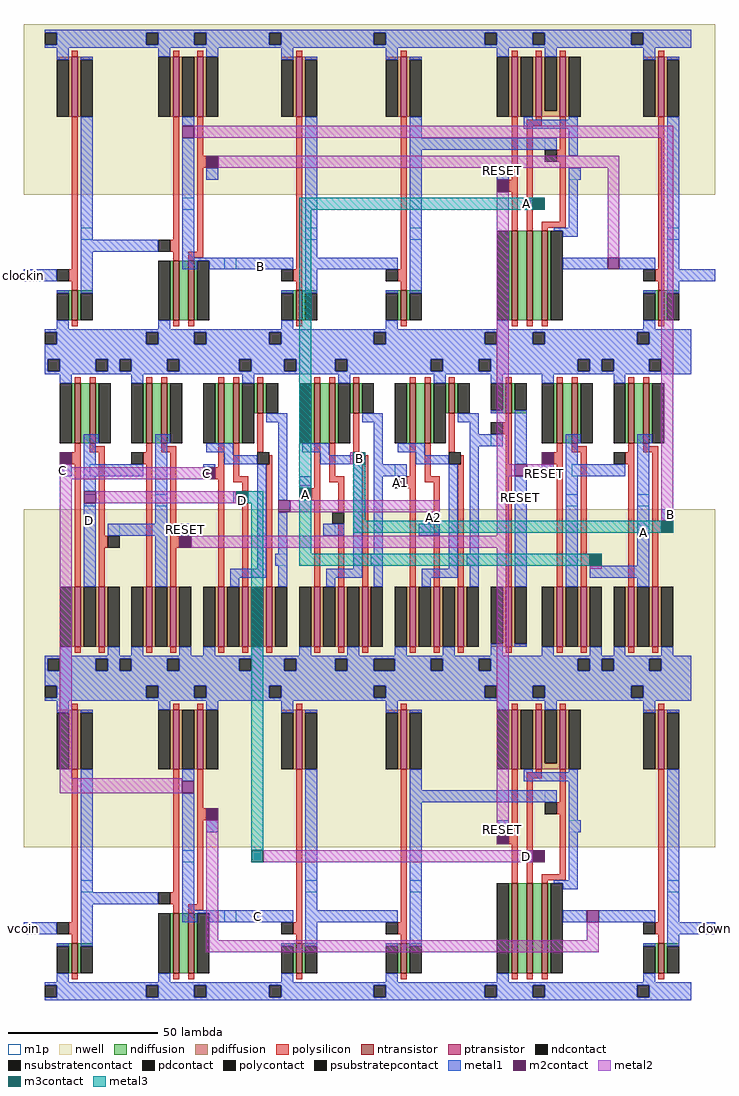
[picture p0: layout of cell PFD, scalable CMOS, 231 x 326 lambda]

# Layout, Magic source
magic
tech scmos
<< nwell >>
rect 0 51 231 108
rect 0 -167 231 -54
<< ntransistor >>
rect 16 9 18 19
rect 50 9 52 29
rect 55 9 57 29
rect 91 9 93 19
rect 126 9 128 19
rect 163 9 165 39
rect 168 9 170 39
rect 173 9 175 39
rect 212 9 214 19
rect 17 -32 19 -12
rect 22 -32 24 -12
rect 41 -32 43 -12
rect 46 -32 48 -12
rect 65 -32 67 -12
rect 70 -32 72 -12
rect 78 -22 80 -12
rect 97 -32 99 -12
rect 102 -32 104 -12
rect 110 -22 112 -12
rect 129 -32 131 -12
rect 134 -32 136 -12
rect 142 -22 144 -12
rect 161 -22 163 -12
rect 178 -32 180 -12
rect 183 -32 185 -12
rect 202 -32 204 -12
rect 207 -32 209 -12
rect 16 -209 18 -199
rect 50 -209 52 -189
rect 55 -209 57 -189
rect 91 -209 93 -199
rect 126 -209 128 -199
rect 163 -209 165 -179
rect 168 -209 170 -179
rect 173 -209 175 -179
rect 212 -209 214 -199
<< ptransistor >>
rect 16 77 18 97
rect 50 77 52 97
rect 58 77 60 97
rect 91 77 93 97
rect 126 77 128 97
rect 163 77 165 97
rect 171 77 173 97
rect 179 77 181 97
rect 212 77 214 97
rect 17 -100 19 -80
rect 25 -100 27 -80
rect 41 -100 43 -80
rect 49 -100 51 -80
rect 65 -100 67 -80
rect 73 -100 75 -80
rect 81 -100 83 -80
rect 97 -100 99 -80
rect 105 -100 107 -80
rect 113 -100 115 -80
rect 129 -100 131 -80
rect 137 -100 139 -80
rect 145 -100 147 -80
rect 161 -100 163 -80
rect 178 -100 180 -80
rect 186 -100 188 -80
rect 202 -100 204 -80
rect 210 -100 212 -80
rect 16 -141 18 -121
rect 50 -141 52 -121
rect 58 -141 60 -121
rect 91 -141 93 -121
rect 126 -141 128 -121
rect 163 -141 165 -121
rect 171 -141 173 -121
rect 179 -141 181 -121
rect 212 -141 214 -121
<< ndiffusion >>
rect 11 18 16 19
rect 15 9 16 18
rect 18 18 23 19
rect 18 9 19 18
rect 49 9 50 29
rect 52 9 55 29
rect 57 9 58 29
rect 86 18 91 19
rect 90 9 91 18
rect 93 18 98 19
rect 93 9 94 18
rect 121 18 126 19
rect 125 9 126 18
rect 128 18 133 19
rect 128 9 129 18
rect 162 9 163 39
rect 165 9 168 39
rect 170 9 173 39
rect 175 9 176 39
rect 207 18 212 19
rect 211 9 212 18
rect 214 18 219 19
rect 214 9 215 18
rect 16 -32 17 -12
rect 19 -32 22 -12
rect 24 -32 25 -12
rect 40 -32 41 -12
rect 43 -32 46 -12
rect 48 -32 49 -12
rect 64 -32 65 -12
rect 67 -32 70 -12
rect 72 -32 73 -12
rect 77 -22 78 -12
rect 80 -22 81 -12
rect 96 -32 97 -12
rect 99 -32 102 -12
rect 104 -32 105 -12
rect 109 -22 110 -12
rect 112 -22 113 -12
rect 128 -32 129 -12
rect 131 -32 134 -12
rect 136 -32 137 -12
rect 141 -22 142 -12
rect 144 -22 145 -12
rect 160 -21 161 -12
rect 156 -22 161 -21
rect 163 -21 164 -12
rect 163 -22 168 -21
rect 177 -32 178 -12
rect 180 -32 183 -12
rect 185 -32 186 -12
rect 201 -32 202 -12
rect 204 -32 207 -12
rect 209 -32 210 -12
rect 11 -200 16 -199
rect 15 -209 16 -200
rect 18 -200 23 -199
rect 18 -209 19 -200
rect 49 -209 50 -189
rect 52 -209 55 -189
rect 57 -209 58 -189
rect 86 -200 91 -199
rect 90 -209 91 -200
rect 93 -200 98 -199
rect 93 -209 94 -200
rect 121 -200 126 -199
rect 125 -209 126 -200
rect 128 -200 133 -199
rect 128 -209 129 -200
rect 162 -209 163 -179
rect 165 -209 168 -179
rect 170 -209 173 -179
rect 175 -209 176 -179
rect 207 -200 212 -199
rect 211 -209 212 -200
rect 214 -200 219 -199
rect 214 -209 215 -200
<< pdiffusion >>
rect 11 96 16 97
rect 15 77 16 96
rect 18 96 23 97
rect 18 77 19 96
rect 49 77 50 97
rect 52 77 53 97
rect 57 77 58 97
rect 60 77 61 97
rect 86 96 91 97
rect 90 77 91 96
rect 93 96 98 97
rect 93 77 94 96
rect 121 96 126 97
rect 125 77 126 96
rect 128 96 133 97
rect 128 77 129 96
rect 162 77 163 97
rect 165 77 166 97
rect 170 77 171 97
rect 173 79 174 97
rect 178 79 179 97
rect 173 77 179 79
rect 181 77 182 97
rect 207 96 212 97
rect 211 77 212 96
rect 214 96 219 97
rect 214 77 215 96
rect 16 -100 17 -80
rect 19 -100 20 -80
rect 24 -100 25 -80
rect 27 -100 28 -80
rect 40 -100 41 -80
rect 43 -100 44 -80
rect 48 -100 49 -80
rect 51 -100 52 -80
rect 64 -100 65 -80
rect 67 -100 68 -80
rect 72 -100 73 -80
rect 75 -100 76 -80
rect 80 -100 81 -80
rect 83 -100 84 -80
rect 96 -100 97 -80
rect 99 -100 100 -80
rect 104 -100 105 -80
rect 107 -100 108 -80
rect 112 -100 113 -80
rect 115 -100 116 -80
rect 128 -100 129 -80
rect 131 -100 132 -80
rect 136 -100 137 -80
rect 139 -100 140 -80
rect 144 -100 145 -80
rect 147 -100 148 -80
rect 160 -99 161 -80
rect 156 -100 161 -99
rect 163 -99 164 -80
rect 163 -100 168 -99
rect 177 -100 178 -80
rect 180 -100 181 -80
rect 185 -100 186 -80
rect 188 -100 189 -80
rect 201 -100 202 -80
rect 204 -100 205 -80
rect 209 -100 210 -80
rect 212 -100 213 -80
rect 11 -122 16 -121
rect 15 -141 16 -122
rect 18 -122 23 -121
rect 18 -141 19 -122
rect 49 -141 50 -121
rect 52 -141 53 -121
rect 57 -141 58 -121
rect 60 -141 61 -121
rect 86 -122 91 -121
rect 90 -141 91 -122
rect 93 -122 98 -121
rect 93 -141 94 -122
rect 121 -122 126 -121
rect 125 -141 126 -122
rect 128 -122 133 -121
rect 128 -141 129 -122
rect 162 -141 163 -121
rect 165 -141 166 -121
rect 170 -141 171 -121
rect 173 -139 174 -121
rect 178 -139 179 -121
rect 173 -141 179 -139
rect 181 -141 182 -121
rect 207 -122 212 -121
rect 211 -141 212 -122
rect 214 -122 219 -121
rect 214 -141 215 -122
<< ndcontact >>
rect 11 9 15 18
rect 19 9 23 18
rect 45 9 49 29
rect 58 9 62 29
rect 86 9 90 18
rect 94 9 98 18
rect 121 9 125 18
rect 129 9 133 18
rect 158 9 162 39
rect 176 9 180 39
rect 207 9 211 18
rect 215 9 219 18
rect 12 -32 16 -12
rect 25 -32 29 -12
rect 36 -32 40 -12
rect 49 -32 53 -12
rect 60 -32 64 -12
rect 73 -32 77 -12
rect 81 -22 85 -12
rect 92 -32 96 -12
rect 105 -32 109 -12
rect 113 -22 117 -12
rect 124 -32 128 -12
rect 137 -32 141 -12
rect 145 -22 149 -12
rect 156 -21 160 -12
rect 164 -21 168 -12
rect 173 -32 177 -12
rect 186 -32 190 -12
rect 197 -32 201 -12
rect 210 -32 214 -12
rect 11 -209 15 -200
rect 19 -209 23 -200
rect 45 -209 49 -189
rect 58 -209 62 -189
rect 86 -209 90 -200
rect 94 -209 98 -200
rect 121 -209 125 -200
rect 129 -209 133 -200
rect 158 -209 162 -179
rect 176 -209 180 -179
rect 207 -209 211 -200
rect 215 -209 219 -200
<< pdcontact >>
rect 11 77 15 96
rect 19 77 23 96
rect 45 77 49 97
rect 53 77 57 97
rect 61 77 65 97
rect 86 77 90 96
rect 94 77 98 96
rect 121 77 125 96
rect 129 77 133 96
rect 158 77 162 97
rect 166 77 170 97
rect 174 79 178 97
rect 182 77 186 97
rect 207 77 211 96
rect 215 77 219 96
rect 12 -100 16 -80
rect 20 -100 24 -80
rect 28 -100 32 -80
rect 36 -100 40 -80
rect 44 -100 48 -80
rect 52 -100 56 -80
rect 60 -100 64 -80
rect 68 -100 72 -80
rect 76 -100 80 -80
rect 84 -100 88 -80
rect 92 -100 96 -80
rect 100 -100 104 -80
rect 108 -100 112 -80
rect 116 -100 120 -80
rect 124 -100 128 -80
rect 132 -100 136 -80
rect 140 -100 144 -80
rect 148 -100 152 -80
rect 156 -99 160 -80
rect 164 -99 168 -80
rect 173 -100 177 -80
rect 181 -100 185 -80
rect 189 -100 193 -80
rect 197 -100 201 -80
rect 205 -100 209 -80
rect 213 -100 217 -80
rect 11 -141 15 -122
rect 19 -141 23 -122
rect 45 -141 49 -121
rect 53 -141 57 -121
rect 61 -141 65 -121
rect 86 -141 90 -122
rect 94 -141 98 -122
rect 121 -141 125 -122
rect 129 -141 133 -122
rect 158 -141 162 -121
rect 166 -141 170 -121
rect 174 -139 178 -121
rect 182 -141 186 -121
rect 207 -141 211 -122
rect 215 -141 219 -122
<< psubstratepcontact >>
rect 7 1 11 5
rect 41 1 45 5
rect 57 1 61 5
rect 82 1 86 5
rect 117 1 121 5
rect 154 1 158 5
rect 170 1 174 5
rect 205 1 209 5
rect 8 -8 12 -4
rect 24 -8 28 -4
rect 32 -8 36 -4
rect 48 -8 52 -4
rect 72 -8 76 -4
rect 87 -8 91 -4
rect 104 -8 108 -4
rect 136 -8 140 -4
rect 152 -8 156 -4
rect 185 -8 189 -4
rect 193 -8 197 -4
rect 209 -8 213 -4
rect 7 -217 11 -213
rect 41 -217 45 -213
rect 57 -217 61 -213
rect 82 -217 86 -213
rect 117 -217 121 -213
rect 154 -217 158 -213
rect 170 -217 174 -213
rect 205 -217 209 -213
<< nsubstratencontact >>
rect 7 101 11 105
rect 41 101 45 105
rect 57 101 61 105
rect 82 101 86 105
rect 117 101 121 105
rect 154 101 158 105
rect 170 101 174 105
rect 203 101 207 105
rect 8 -108 12 -104
rect 24 -108 28 -104
rect 32 -108 36 -104
rect 48 -108 52 -104
rect 72 -108 76 -104
rect 87 -108 91 -104
rect 104 -108 108 -104
rect 117 -108 124 -104
rect 136 -108 140 -104
rect 152 -108 156 -104
rect 185 -108 189 -104
rect 193 -108 197 -104
rect 209 -108 213 -104
rect 7 -117 11 -113
rect 41 -117 45 -113
rect 57 -117 61 -113
rect 82 -117 86 -113
rect 117 -117 121 -113
rect 154 -117 158 -113
rect 170 -117 174 -113
rect 203 -117 207 -113
<< polysilicon >>
rect 16 97 18 99
rect 50 97 52 99
rect 58 97 60 99
rect 91 97 93 99
rect 126 97 128 99
rect 163 97 165 99
rect 171 97 173 99
rect 179 97 181 99
rect 212 97 214 99
rect 16 26 18 77
rect 50 36 52 77
rect 49 32 52 36
rect 58 64 60 77
rect 58 60 61 64
rect 58 32 60 60
rect 50 29 52 32
rect 55 30 60 32
rect 55 29 57 30
rect 15 22 18 26
rect 16 19 18 22
rect 91 26 93 77
rect 126 26 128 77
rect 163 56 165 77
rect 171 76 173 77
rect 162 52 165 56
rect 163 39 165 52
rect 168 74 173 76
rect 168 39 170 74
rect 179 66 181 77
rect 178 62 181 66
rect 179 42 181 62
rect 173 40 181 42
rect 173 39 175 40
rect 90 22 93 26
rect 125 22 128 26
rect 91 19 93 22
rect 126 19 128 22
rect 212 26 214 77
rect 211 22 214 26
rect 212 19 214 22
rect 16 7 18 9
rect 50 7 52 9
rect 55 7 57 9
rect 91 7 93 9
rect 126 7 128 9
rect 163 7 165 9
rect 168 7 170 9
rect 173 7 175 9
rect 212 7 214 9
rect 17 -12 19 -10
rect 22 -12 24 -10
rect 41 -12 43 -10
rect 46 -12 48 -10
rect 65 -12 67 -10
rect 70 -12 72 -10
rect 78 -12 80 -10
rect 97 -12 99 -10
rect 102 -12 104 -10
rect 110 -12 112 -10
rect 129 -12 131 -10
rect 134 -12 136 -10
rect 142 -12 144 -10
rect 161 -12 163 -10
rect 178 -12 180 -10
rect 183 -12 185 -10
rect 202 -12 204 -10
rect 207 -12 209 -10
rect 17 -35 19 -32
rect 22 -33 24 -32
rect 22 -35 27 -33
rect 41 -35 43 -32
rect 46 -33 48 -32
rect 46 -35 51 -33
rect 16 -39 19 -35
rect 17 -80 19 -39
rect 25 -63 27 -35
rect 40 -39 43 -35
rect 25 -67 28 -63
rect 25 -80 27 -67
rect 41 -80 43 -39
rect 49 -63 51 -35
rect 65 -40 67 -32
rect 64 -44 67 -40
rect 49 -67 52 -63
rect 49 -80 51 -67
rect 65 -80 67 -44
rect 70 -43 72 -32
rect 78 -35 80 -22
rect 82 -39 83 -36
rect 70 -45 75 -43
rect 73 -48 75 -45
rect 73 -80 75 -52
rect 81 -80 83 -39
rect 97 -47 99 -32
rect 102 -43 104 -32
rect 110 -35 112 -22
rect 114 -39 115 -36
rect 102 -45 107 -43
rect 96 -51 99 -47
rect 97 -80 99 -51
rect 105 -55 107 -45
rect 105 -80 107 -59
rect 113 -80 115 -39
rect 129 -43 131 -32
rect 128 -47 131 -43
rect 134 -43 136 -32
rect 142 -35 144 -22
rect 161 -25 163 -22
rect 160 -29 163 -25
rect 146 -39 147 -36
rect 134 -45 139 -43
rect 129 -80 131 -47
rect 137 -55 139 -45
rect 137 -80 139 -59
rect 145 -80 147 -39
rect 161 -80 163 -29
rect 178 -35 180 -32
rect 183 -33 185 -32
rect 183 -35 188 -33
rect 202 -35 204 -32
rect 207 -33 209 -32
rect 207 -35 212 -33
rect 177 -39 180 -35
rect 178 -80 180 -39
rect 186 -69 188 -35
rect 201 -39 204 -35
rect 186 -73 189 -69
rect 186 -80 188 -73
rect 202 -80 204 -39
rect 210 -58 212 -35
rect 210 -62 213 -58
rect 210 -80 212 -62
rect 17 -102 19 -100
rect 25 -102 27 -100
rect 41 -102 43 -100
rect 49 -102 51 -100
rect 65 -102 67 -100
rect 73 -102 75 -100
rect 81 -102 83 -100
rect 97 -102 99 -100
rect 105 -102 107 -100
rect 113 -102 115 -100
rect 129 -102 131 -100
rect 137 -102 139 -100
rect 145 -102 147 -100
rect 161 -102 163 -100
rect 178 -102 180 -100
rect 186 -102 188 -100
rect 202 -102 204 -100
rect 210 -102 212 -100
rect 16 -121 18 -119
rect 50 -121 52 -119
rect 58 -121 60 -119
rect 91 -121 93 -119
rect 126 -121 128 -119
rect 163 -121 165 -119
rect 171 -121 173 -119
rect 179 -121 181 -119
rect 212 -121 214 -119
rect 16 -192 18 -141
rect 50 -182 52 -141
rect 49 -186 52 -182
rect 58 -154 60 -141
rect 58 -158 61 -154
rect 58 -186 60 -158
rect 50 -189 52 -186
rect 55 -188 60 -186
rect 55 -189 57 -188
rect 15 -196 18 -192
rect 16 -199 18 -196
rect 91 -192 93 -141
rect 126 -192 128 -141
rect 163 -162 165 -141
rect 171 -142 173 -141
rect 162 -166 165 -162
rect 163 -179 165 -166
rect 168 -144 173 -142
rect 168 -179 170 -144
rect 179 -152 181 -141
rect 178 -156 181 -152
rect 179 -176 181 -156
rect 173 -178 181 -176
rect 173 -179 175 -178
rect 90 -196 93 -192
rect 125 -196 128 -192
rect 91 -199 93 -196
rect 126 -199 128 -196
rect 212 -192 214 -141
rect 211 -196 214 -192
rect 212 -199 214 -196
rect 16 -211 18 -209
rect 50 -211 52 -209
rect 55 -211 57 -209
rect 91 -211 93 -209
rect 126 -211 128 -209
rect 163 -211 165 -209
rect 168 -211 170 -209
rect 173 -211 175 -209
rect 212 -211 214 -209
<< polycontact >>
rect 45 32 49 36
rect 61 60 65 64
rect 11 22 15 26
rect 158 52 162 56
rect 174 62 178 66
rect 170 46 174 50
rect 86 22 90 26
rect 121 22 125 26
rect 207 22 211 26
rect 12 -39 16 -35
rect 36 -39 40 -35
rect 28 -67 32 -63
rect 60 -44 64 -40
rect 52 -67 56 -63
rect 78 -39 82 -35
rect 71 -52 75 -48
rect 110 -39 114 -35
rect 92 -51 96 -47
rect 103 -59 107 -55
rect 124 -47 128 -43
rect 156 -29 160 -25
rect 142 -39 146 -35
rect 135 -59 139 -55
rect 173 -39 177 -35
rect 197 -39 201 -35
rect 189 -73 193 -69
rect 213 -62 217 -58
rect 45 -186 49 -182
rect 61 -158 65 -154
rect 11 -196 15 -192
rect 158 -166 162 -162
rect 174 -156 178 -152
rect 170 -172 174 -168
rect 86 -196 90 -192
rect 121 -196 125 -192
rect 207 -196 211 -192
<< metal1 >>
rect 7 105 223 106
rect 11 101 41 105
rect 45 101 57 105
rect 61 101 82 105
rect 86 101 117 105
rect 121 101 154 105
rect 158 101 170 105
rect 174 101 203 105
rect 207 101 223 105
rect 7 100 223 101
rect 11 96 15 100
rect 45 97 49 100
rect 61 97 65 100
rect 19 96 23 97
rect 86 96 90 100
rect 94 96 98 97
rect 121 96 125 100
rect 158 97 162 100
rect 174 97 178 100
rect 129 96 133 97
rect 19 36 23 77
rect 53 74 57 77
rect 19 32 45 36
rect 0 22 11 26
rect 11 18 15 19
rect 19 18 23 32
rect 53 30 57 70
rect 61 56 65 60
rect 94 30 98 77
rect 129 70 133 77
rect 167 76 170 77
rect 207 96 211 100
rect 215 96 219 97
rect 182 76 185 77
rect 167 73 185 76
rect 129 66 178 70
rect 53 29 90 30
rect 53 26 58 29
rect 62 26 90 29
rect 94 26 125 30
rect 86 18 90 19
rect 94 18 98 26
rect 121 18 125 19
rect 129 18 133 66
rect 182 64 185 73
rect 158 56 162 60
rect 182 56 186 60
rect 167 46 170 50
rect 182 40 185 56
rect 177 39 185 40
rect 180 37 185 39
rect 180 26 195 30
rect 199 26 211 30
rect 215 26 219 77
rect 215 22 231 26
rect 207 18 211 19
rect 215 18 219 22
rect 11 6 15 9
rect 45 6 49 9
rect 86 6 90 9
rect 121 6 125 9
rect 158 6 162 9
rect 207 6 211 9
rect 7 5 223 6
rect 11 1 41 5
rect 45 1 57 5
rect 61 1 82 5
rect 86 1 117 5
rect 121 1 154 5
rect 158 1 170 5
rect 174 1 205 5
rect 209 1 223 5
rect 7 -4 223 1
rect 7 -8 8 -4
rect 12 -8 24 -4
rect 28 -8 32 -4
rect 36 -8 48 -4
rect 52 -8 72 -4
rect 76 -8 87 -4
rect 91 -8 104 -4
rect 108 -8 136 -4
rect 140 -8 152 -4
rect 156 -8 185 -4
rect 189 -8 193 -4
rect 197 -8 209 -4
rect 213 -8 223 -4
rect 7 -9 223 -8
rect 12 -12 16 -9
rect 36 -12 40 -9
rect 73 -12 77 -9
rect 105 -12 109 -9
rect 137 -12 141 -9
rect 156 -12 160 -9
rect 173 -12 177 -9
rect 197 -12 201 -9
rect 20 -32 25 -29
rect 44 -32 49 -29
rect 81 -25 88 -22
rect 12 -43 16 -39
rect 20 -39 24 -32
rect 20 -43 40 -39
rect 20 -48 24 -43
rect 20 -80 24 -52
rect 44 -59 48 -32
rect 61 -35 70 -32
rect 67 -36 70 -35
rect 67 -39 78 -36
rect 60 -40 64 -39
rect 70 -52 71 -48
rect 28 -63 48 -59
rect 44 -80 48 -63
rect 52 -63 56 -59
rect 78 -74 81 -39
rect 85 -51 88 -25
rect 113 -25 120 -22
rect 93 -35 102 -32
rect 99 -36 102 -35
rect 99 -39 110 -36
rect 117 -39 120 -25
rect 156 -22 160 -21
rect 145 -25 152 -22
rect 149 -29 152 -25
rect 125 -35 134 -32
rect 149 -33 160 -29
rect 131 -36 134 -35
rect 131 -39 142 -36
rect 92 -47 96 -43
rect 85 -69 88 -55
rect 100 -63 107 -59
rect 84 -73 88 -69
rect 69 -77 81 -74
rect 69 -80 72 -77
rect 85 -80 88 -73
rect 110 -74 113 -39
rect 117 -43 128 -39
rect 117 -69 120 -43
rect 132 -63 139 -59
rect 116 -73 120 -69
rect 101 -77 113 -74
rect 101 -80 104 -77
rect 117 -80 120 -73
rect 142 -74 145 -39
rect 149 -69 152 -33
rect 148 -73 152 -69
rect 133 -77 145 -74
rect 133 -80 136 -77
rect 149 -80 152 -73
rect 164 -39 168 -21
rect 181 -32 186 -29
rect 205 -32 210 -29
rect 173 -43 177 -39
rect 181 -39 185 -32
rect 181 -43 201 -39
rect 164 -80 168 -43
rect 181 -80 185 -43
rect 205 -73 209 -32
rect 213 -58 217 -54
rect 189 -77 209 -73
rect 205 -80 209 -77
rect 12 -103 16 -100
rect 28 -103 32 -100
rect 36 -103 40 -100
rect 52 -103 56 -100
rect 60 -103 64 -100
rect 76 -103 80 -100
rect 92 -103 96 -100
rect 108 -103 112 -100
rect 124 -103 128 -100
rect 140 -103 144 -100
rect 156 -103 160 -99
rect 164 -100 168 -99
rect 173 -103 177 -100
rect 189 -103 193 -100
rect 197 -103 201 -100
rect 213 -103 217 -100
rect 7 -104 223 -103
rect 7 -108 8 -104
rect 12 -108 24 -104
rect 28 -108 32 -104
rect 36 -108 48 -104
rect 52 -108 72 -104
rect 76 -108 87 -104
rect 91 -108 104 -104
rect 108 -108 117 -104
rect 124 -108 136 -104
rect 140 -108 152 -104
rect 156 -108 185 -104
rect 189 -108 193 -104
rect 197 -108 209 -104
rect 213 -108 223 -104
rect 7 -113 223 -108
rect 11 -117 41 -113
rect 45 -117 57 -113
rect 61 -117 82 -113
rect 86 -117 117 -113
rect 121 -117 154 -113
rect 158 -117 170 -113
rect 174 -117 203 -113
rect 207 -117 223 -113
rect 7 -118 223 -117
rect 11 -122 15 -118
rect 45 -121 49 -118
rect 61 -121 65 -118
rect 19 -122 23 -121
rect 86 -122 90 -118
rect 94 -122 98 -121
rect 121 -122 125 -118
rect 158 -121 162 -118
rect 174 -121 178 -118
rect 129 -122 133 -121
rect 19 -182 23 -141
rect 53 -145 57 -141
rect 19 -186 45 -182
rect 0 -196 11 -192
rect 11 -200 15 -199
rect 19 -200 23 -186
rect 53 -188 57 -149
rect 61 -162 65 -158
rect 94 -188 98 -141
rect 129 -148 133 -141
rect 167 -142 170 -141
rect 207 -122 211 -118
rect 215 -122 219 -121
rect 182 -142 185 -141
rect 167 -145 185 -142
rect 129 -152 178 -148
rect 53 -189 90 -188
rect 53 -192 58 -189
rect 62 -192 90 -189
rect 94 -192 125 -188
rect 86 -200 90 -199
rect 94 -200 98 -192
rect 121 -200 125 -199
rect 129 -200 133 -152
rect 182 -158 185 -145
rect 158 -162 162 -158
rect 182 -162 186 -158
rect 166 -172 170 -168
rect 182 -178 185 -162
rect 177 -179 185 -178
rect 180 -181 185 -179
rect 180 -192 188 -188
rect 192 -192 211 -188
rect 215 -192 219 -141
rect 215 -196 231 -192
rect 207 -200 211 -199
rect 215 -200 219 -196
rect 11 -212 15 -209
rect 45 -212 49 -209
rect 86 -212 90 -209
rect 121 -212 125 -209
rect 158 -212 162 -209
rect 207 -212 211 -209
rect 7 -213 223 -212
rect 11 -217 41 -213
rect 45 -217 57 -213
rect 61 -217 82 -213
rect 86 -217 117 -213
rect 121 -217 154 -213
rect 158 -217 170 -213
rect 174 -217 205 -213
rect 209 -217 223 -213
rect 7 -218 223 -217
<< m2contact >>
rect 53 70 57 74
rect 61 60 65 64
rect 158 52 162 56
rect 170 46 174 50
rect 195 26 199 30
rect 12 -39 16 -35
rect 20 -52 24 -48
rect 60 -44 64 -40
rect 71 -52 75 -48
rect 52 -67 56 -63
rect 110 -39 114 -35
rect 92 -51 96 -47
rect 85 -55 89 -51
rect 135 -59 139 -55
rect 164 -43 168 -39
rect 173 -39 177 -35
rect 189 -73 193 -69
rect 213 -62 217 -58
rect 53 -149 57 -145
rect 61 -158 65 -154
rect 158 -166 162 -162
rect 170 -172 174 -168
rect 188 -192 192 -188
<< metal2 >>
rect 57 70 217 74
rect 65 60 199 64
rect 109 -39 110 -35
rect 158 -39 162 52
rect 169 46 170 50
rect 195 30 199 60
rect 12 -40 16 -39
rect 12 -44 60 -40
rect 158 -43 164 -39
rect 168 -43 177 -39
rect 12 -144 16 -44
rect 92 -47 96 -46
rect 24 -52 71 -48
rect 89 -55 139 -51
rect 158 -63 162 -43
rect 213 -58 217 70
rect 56 -67 162 -63
rect 12 -149 53 -144
rect 61 -198 65 -158
rect 158 -162 162 -67
rect 189 -74 193 -73
rect 80 -172 170 -168
rect 188 -198 192 -192
rect 61 -202 192 -198
<< m3contact >>
rect 110 -39 114 -35
rect 170 46 174 50
rect 71 -52 75 -48
rect 92 -51 96 -47
rect 213 -62 217 -58
rect 189 -73 193 -69
rect 76 -172 80 -168
<< metal3 >>
rect 92 46 170 50
rect 92 -47 96 46
rect 75 -52 80 -48
rect 76 -168 80 -52
rect 92 -69 96 -51
rect 110 -58 114 -39
rect 110 -62 213 -58
rect 92 -73 189 -69
<< m1p >>
rect 174 66 178 70
rect 61 56 65 60
rect 158 56 162 60
rect 182 56 186 60
rect 53 46 57 50
rect 167 46 171 50
rect 19 36 23 40
rect 94 36 98 40
rect 129 36 133 40
rect 215 36 219 40
rect 67 26 71 30
rect 0 22 15 26
rect 156 -33 160 -29
rect 12 -43 16 -39
rect 22 -43 40 -39
rect 60 -43 64 -39
rect 124 -43 128 -39
rect 164 -43 168 -39
rect 173 -43 177 -39
rect 183 -43 201 -39
rect 92 -47 96 -43
rect 20 -53 24 -49
rect 44 -53 48 -49
rect 70 -52 74 -48
rect 181 -53 185 -49
rect 205 -53 209 -49
rect 28 -63 32 -59
rect 52 -63 56 -59
rect 100 -63 104 -59
rect 132 -63 136 -59
rect 84 -73 88 -69
rect 116 -73 120 -69
rect 148 -73 152 -69
rect 174 -152 178 -148
rect 61 -162 65 -158
rect 158 -162 162 -158
rect 182 -162 186 -158
rect 53 -172 57 -168
rect 166 -172 170 -168
rect 19 -182 23 -178
rect 94 -182 98 -178
rect 129 -182 133 -178
rect 215 -182 219 -178
rect 67 -192 71 -188
rect 0 -196 15 -192
<< labels >>
rlabel metal1 0 22 0 26 3 clockin
rlabel metal1 0 -196 0 -192 3 vcoin
rlabel metal1 166 -50 166 -50 1 RESET
rlabel metal1 79 27 79 27 1 B
rlabel metal1 78 -190 78 -190 1 C
rlabel metal1 13 -41 13 -41 1 C
rlabel metal1 174 -42 174 -42 1 RESET
rlabel metal1 207 -62 207 -62 1 A
rlabel metal1 22 -58 22 -58 1 D
rlabel metal1 54 -61 54 -61 1 RESET
rlabel metal1 160 59 160 59 1 RESET
rlabel metal1 160 -161 160 -161 1 RESET
rlabel metal1 168 48 168 48 1 A
rlabel polycontact 126 -45 126 -45 1 A1
rlabel polycontact 137 -57 137 -57 1 A2
rlabel metal1 168 -170 168 -170 1 D
rlabel metal1 231 -196 231 -192 7 down
rlabel polycontact 73 -51 73 -51 1 D
rlabel polycontact 61 -42 61 -42 1 C
rlabel polycontact 112 -37 112 -37 1 B
rlabel polycontact 94 -49 94 -49 1 A
rlabel metal1 216 -56 216 -56 1 B
<< end >>
